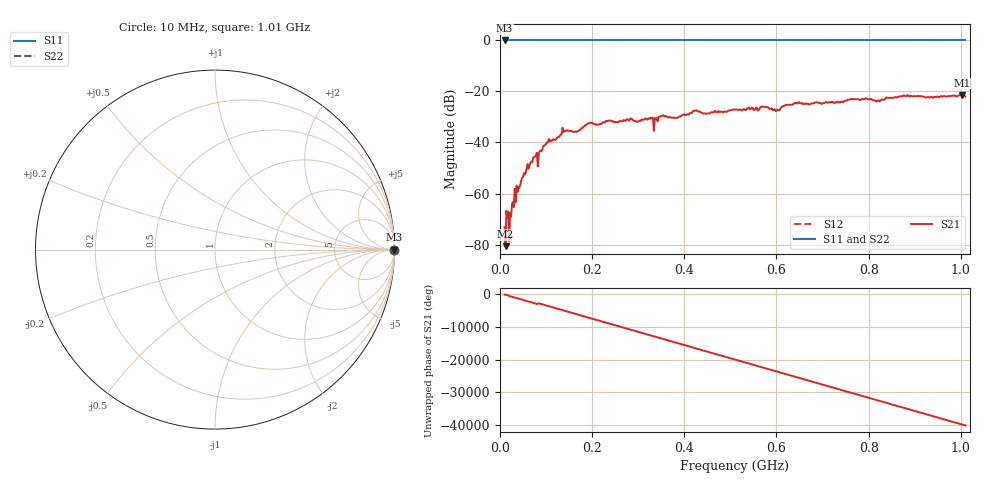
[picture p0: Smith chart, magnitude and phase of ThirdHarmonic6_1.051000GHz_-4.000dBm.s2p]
! 8/16/2025 9:16:45 AM
! C:\ANRITSUVNA\TEMP\TEMP.S2P
! CHANNEL.1
! TR.MEASUREMENT
! RAW.DATA
! RF.CORRECTION.OFF
! AVERAGING.OFF
! IF.BANDWIDTH: 5KHZ
! SWEEPTYPE:  FREQ.SWEEP(Linear)
! Reference Plane Port Info
! PORT:  PORT1  PORT2
! DISTANCE:  0  m  0  m
! TIME:  0  s  0  s
! PHASE.OFFSET:  0  deg.  0  deg.
! LOSS:  0  dB  0  dB
! REF.LOSS:  0  dB  0  dB
! REF.FREQ:  0  Hz  0  Hz
! Power Info
! POWER:  -20  dBm  -20  dBm
! EFF.POWER:  -20  dBm  -20  dBm
! SOURCE.ATTEN:  0  dB  0  dB
! TEST.ATTEN:  0  dB  0  dB
# GHZ S RI R 50.0
! FREQ.GHZ  S11RE  S11IM  S21RE  S21IM  S12RE  S12IM  S22RE  S22IM
!; PortSelection: Port_12
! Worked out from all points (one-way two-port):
!   501 points, 10 MHz to 1.01 GHz, reference 50 ohm
!   highest |S21| = -21.36 dB at 1.002 GHz (marker M1); lowest = -80.6 dB at 12 MHz (marker M2)
!   lowest |S11| = 0.0 dB at 10 MHz (marker M3)
!   |S11| at or under -10 dB: nowhere
!   |S22| runs from 0.0 to 0.0 dB; largest |S21 - S12| = 1.1
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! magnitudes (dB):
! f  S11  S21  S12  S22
! 10 MHz  0.0  -73.2  0.0  0.0
! 12 MHz  0.0  -80.6  0.0  0.0
! 24 MHz  0.0  -69.1  0.0  0.0
! 28 MHz  0.0  -63.3  0.0  0.0
! 36 MHz  0.0  -56.9  0.0  0.0
! 76 MHz  0.0  -45.5  0.0  0.0
! 140 MHz  0.0  -35.5  0.0  0.0
! 178 MHz  0.0  -34.4  0.0  0.0
! 196 MHz  0.0  -32.2  0.0  0.0
! 328 MHz  0.0  -30.3  0.0  0.0
! 338 MHz  0.0  -30.5  0.0  0.0
! 344 MHz  0.0  -30.0  0.0  0.0
! 382 MHz  0.0  -30.3  0.0  0.0
! 424 MHz  0.0  -27.5  0.0  0.0
! 510 MHz  0.0  -27.1  0.0  0.0
! 570 MHz  0.0  -25.9  0.0  0.0
! 602 MHz  0.0  -27.1  0.0  0.0
! 644 MHz  0.0  -24.7  0.0  0.0
! 678 MHz  0.0  -24.7  0.0  0.0
! 844 MHz  0.0  -22.5  0.0  0.0
! 1.002 GHz  0.0  -21.4  0.0  0.0
! 1.01 GHz  0.0  -22.0  0.0  0.0
